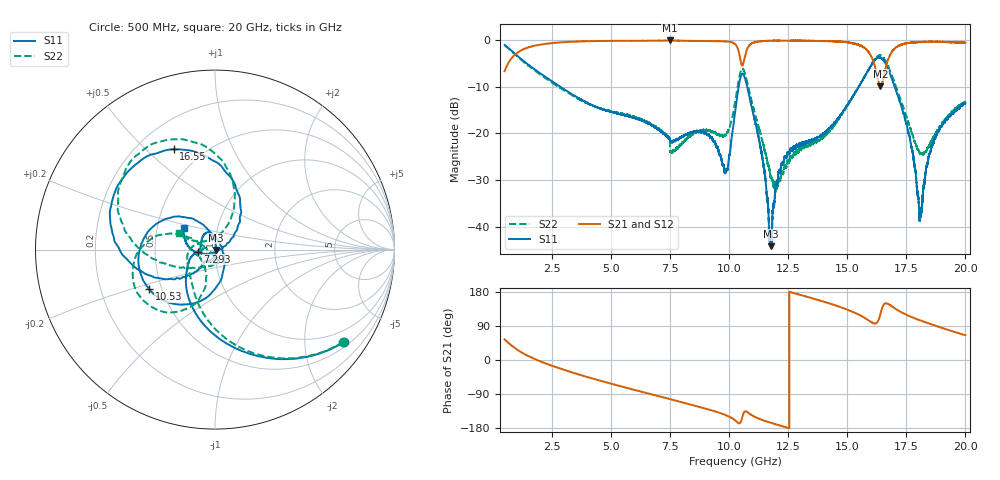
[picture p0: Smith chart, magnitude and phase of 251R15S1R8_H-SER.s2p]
!{251R15S1R8}
!Johanson Technology Inc.
!www.johansontechnology.com
!Test Board Conditions:
!Substrate Type  RO4350B
!Substrate Thickness  20 mil
!Substrate Dk  3.66
!TL Type: GCPW
!TL Trace Width  34 mil
!TL Gap  10 mil
!Electrode orientation  Horizontal
!DUT TOPOLOGY	SERIES
!Mounting Pad LxW  26x52 mil
! Created Thu Mar 12 16:36:57 2020
# mhz S ma R 50
! 2 Port Network Data from SP1.SP block
! freq  magS11  angS11  magS21  angS21  magS12  angS12  magS22  angS22
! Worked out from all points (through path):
!   19501 points, 500 MHz to 20 GHz, reference 50 ohm
!   highest |S21| = -0.08 dB at 7.487 GHz (marker M1); lowest = -9.9 dB at 16.41 GHz (marker M2)
!   group delay of S21, straight-line fit = 44.4 ps
!   lowest |S11| = -44.1 dB at 11.78 GHz (marker M3), VSWR 1.01, Z = 50.6 - j0.278 ohm
!   |S11| at or under -10 dB: 2.857 GHz to 10.4 GHz (7.547 GHz wide, 114 % of centre); 10.77 GHz to 15.48 GHz (4.711 GHz wide, 35.9 % of centre); 17.02 GHz to end of sweep (the widest 3 of 4)
!   |S22| runs from -31.8 to -1.1 dB; largest |S21 - S12| = 0.018
!   S11 on the Smith chart (normalised r, x): 500 MHz: 0.64, -3.01; 7.293 GHz: 0.82, -0.02; 10.53 GHz: 0.43, -0.23; 16.55 GHz: 0.35, +0.61; 20 GHz: 0.69, +0.17
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500  0.8844 -35.4  0.465 54.4  0.4666 54.5  0.8802 -35.7
1760  0.4875 -88.5  0.8693 3.1  0.8706 3.0  0.4774 -85.6
3750  0.2296 -134.8  0.9685 -40.3  0.9697 -40.3  0.225 -125.2
7000  0.1114 -170.6  0.9871 -95.2  0.9874 -95.2  0.1139 166.5
7293  0.09752 -173.4  0.9872 -100.0  0.9884 -100.0  0.09973 161.9
7487  0.08643 -176.7  0.9912 -103.1  0.9901 -103.1  0.08947 157.3
8958  0.1003 110.8  0.977 -127.6  0.9767 -127.6  0.1076 -166.6
9868  0.04003 16.9  0.9693 -145.6  0.9693 -145.7  0.09648 -133.1
10250  0.1669 -77.8  0.908 -158.9  0.9102 -158.9  0.2136 -104.4
10528  0.4285 -149.2  0.5465 -157.9  0.5496 -158.0  0.4851 -142.3
10818  0.2773 138.5  0.8515 -139.5  0.8537 -139.9  0.314 164.5
11783  0.006211 -26.3  0.9849 -166.0  0.9855 -166.0  0.0333 -170.4
12289  0.04783 -100.4  0.9878 -175.3  0.9881 -175.3  0.03785 -87.5
13500  0.08567 -128.3  0.9794 163.2  0.9845 163.2  0.08013 -81.8
15601  0.3548 -153.9  0.8675 115.8  0.8669 115.8  0.3566 -172.0
16406  0.6469 132.6  0.3195 122.2  0.3163 122.8  0.6857 123.5
16551  0.6037 112.3  0.4172 146.7  0.413 147.7  0.64 106.2
16750  0.4771 87.2  0.6419 147.4  0.6329 148.1  0.5143 87.5
17586  0.102 32.3  0.9306 117.0  0.9349 117.3  0.1302 63.8
18088  0.01333 -80.8  0.9499 104.6  0.9615 104.4  0.06074 101.3
18752  0.09241 -168.1  0.9592 90.1  0.9573 89.8  0.1015 153.8
20000  0.2106 145.9  0.9352 65.3  0.9318 65.3  0.219 155.5
